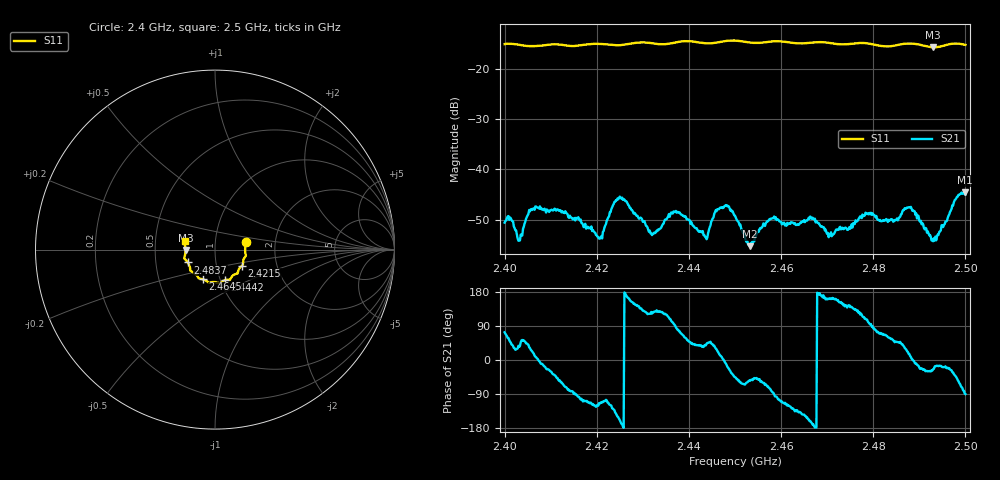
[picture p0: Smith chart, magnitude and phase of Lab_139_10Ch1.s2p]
# Hz S RI R 50
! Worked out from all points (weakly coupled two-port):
!   601 points, 2.4 GHz to 2.5 GHz, reference 50 ohm
!   highest |S21| = -44.54 dB at 2.4998 GHz (marker M1); lowest = -55.3 dB at 2.4532 GHz (marker M2)
!   lowest |S11| = -15.7 dB at 2.493 GHz (marker M3), VSWR 1.39, Z = 36 - j0.217 ohm
!   |S11| at or under -10 dB: start of sweep to end of sweep
!   S12 and S22 are empty: the file has one direction only
!   S11 on the Smith chart (normalised r, x): 2.4 GHz: 1.41, +0.12; 2.4215 GHz: 1.33, -0.25; 2.4442 GHz: 1.05, -0.37; 2.4645 GHz: 0.83, -0.29; 2.4837 GHz: 0.73, -0.11; 2.5 GHz: 0.71, +0.07
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2.4e9  0.1714 0.0402  0.000859 0.00284  0 0  0 0
2.403333e9  0.1708 0.025  0.00157 0.00119  0 0  0 0
2.406667e9  0.1678 -0.00884  0.00424 0.000667  0 0  0 0
2.416667e9  0.1568 -0.0697  -0.000622 -0.00287  0 0  0 0
2.4215e9  0.151 -0.0898  -0.000779 -0.00232  0 0  0 0
2.425e9  0.1341 -0.1072  -0.005 -0.00195  0 0  0 0
2.433333e9  0.1082 -0.1385  -0.00156 0.002  0 0  0 0
2.437167e9  0.088 -0.1606  0.000236 0.00386  0 0  0 0
2.444167e9  0.0566 -0.1694  0.00164 0.00165  0 0  0 0
2.446333e9  0.0386 -0.179  0.00376 0.00143  0 0  0 0
2.45e9  0.0251 -0.1891  0.00245 -0.00246  0 0  0 0
2.453167e9  0.00897 -0.1824  0.00103 -0.00139  0 0  0 0
2.458e9  -0.0285 -0.1845  0.000395 -0.00322  0 0  0 0
2.4645e9  -0.0658 -0.1659  -0.00242 -0.00183  0 0  0 0
2.466667e9  -0.0826 -0.1621  -0.00314 -0.000761  0 0  0 0
2.470833e9  -0.0958 -0.152  -0.00224 0.000782  0 0  0 0
2.483333e9  -0.1489 -0.075  0.0016 0.00272  0 0  0 0
2.483667e9  -0.1509 -0.0716  0.00169 0.00266  0 0  0 0
2.487833e9  -0.1716 -0.0486  0.00405 0.00115  0 0  0 0
2.493e9  -0.1634 -0.00294  0.00176 -0.000792  0 0  0 0
2.499833e9  -0.1664 0.0493  0.000235 -0.00593  0 0  0 0
2.5e9  -0.1653 0.0504  1.92e-05 -0.00564  0 0  0 0
